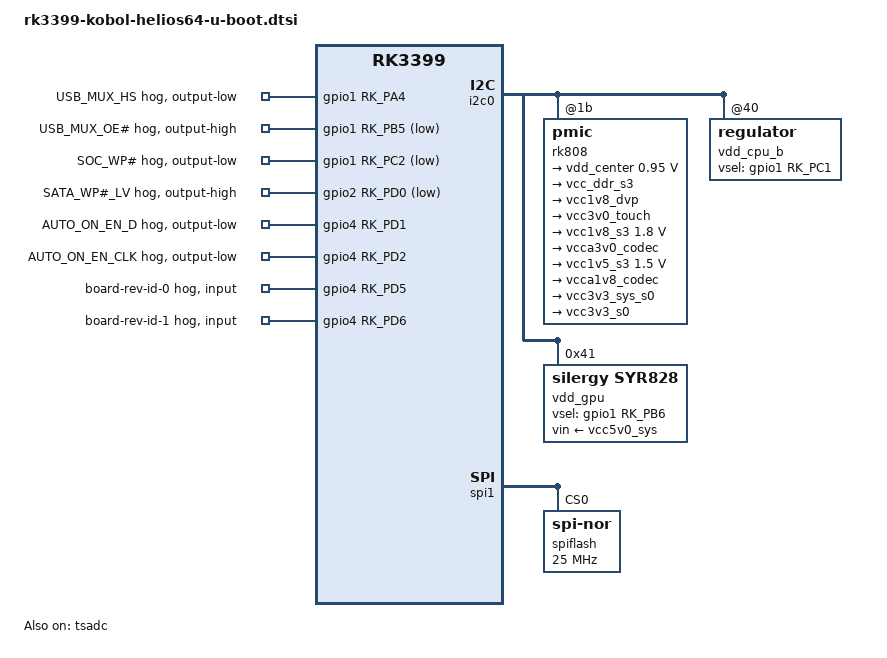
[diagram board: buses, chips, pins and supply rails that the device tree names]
// SPDX-License-Identifier: GPL-2.0+
/*
 * Copyright (c) 2020 Aditya Prayoga (aditya@kobol.io)
 */

#include "rk3399-u-boot.dtsi"
#include "rk3399-sdram-lpddr4-100.dtsi"

/ {
	aliases {
		spi0 = &spi1;
		ethernet0 = &gmac;
	};

	chosen {
		bootargs = "earlycon=uart8250,mmio32,0xff1a0000 earlyprintk";
		stdout-path = "serial2:115200n8";
		u-boot,spl-boot-order = "same-as-spl", &spiflash, &sdmmc, &sdhci;
	};

	config {
		u-boot,spl-payload-offset = <0x80000>; /* @ 512KB */
	};

	leds {
		led-1 {
			linux,default-trigger = "panic";
		};
	};

	vcc3v0_sd: vcc3v0-sd {
		startup-delay-us = <20000>;
	};
};

&cpu_alert0 {
	temperature = <80000>;
};

&cpu_alert1 {
	temperature = <95000>;
};

&cpu_crit {
	temperature = <100000>;
};

&i2c0 {
	rk808: pmic@1b {
		rockchip,system-power-controller;

		regulators {
			vdd_center: DCDC_REG1 {
				regulator-name = "vdd_center";
				regulator-always-on;
				regulator-boot-on;
				regulator-min-microvolt = <950000>;
				regulator-max-microvolt = <950000>;
				regulator-init-microvolt = <950000>;
				regulator-ramp-delay = <6001>;
				regulator-state-mem {
					regulator-on-in-suspend;
					regulator-suspend-microvolt = <950000>;
				};
			};

			vcc_ddr_s3: DCDC_REG3 {
				regulator-name = "vcc_ddr_s3";
				regulator-always-on;
				regulator-boot-on;
				regulator-state-mem {
					regulator-on-in-suspend;
				};
			};

			/* not used */
			vcc1v8_dvp: LDO_REG1 {
				regulator-name = "vcc1v8_dvp";
			};

			/* not used */
			vcc3v0_touch: LDO_REG2 {
				regulator-name = "vcc3v0_touch";
			};

			vcc1v8_s3: LDO_REG3 {
				regulator-name = "vcc1v8_s3";
				regulator-always-on;
				regulator-boot-on;
				regulator-min-microvolt = <1800000>;
				regulator-max-microvolt = <1800000>;
				regulator-state-mem {
					regulator-on-in-suspend;
					regulator-suspend-microvolt = <1800000>;
				};
			};

			/* not used */
			vcca3v0_codec: LDO_REG5 {
				regulator-name = "vcca3v0_codec";
			};

			vcc1v5_s3: LDO_REG6 {
				regulator-name = "vcc1v5_s3";
				regulator-always-on;
				regulator-boot-on;
				regulator-min-microvolt = <1500000>;
				regulator-max-microvolt = <1500000>;
				regulator-state-mem {
					regulator-on-in-suspend;
					regulator-suspend-microvolt = <1500000>;
				};
			};

			/* not used */
			vcca1v8_codec: LDO_REG7 {
				regulator-name = "vcca1v8_codec";
			};

			vcc3v3_sys_s0: SWITCH_REG1 {
				regulator-name = "vcc3v3_sys_s0";
				regulator-always-on;
				regulator-boot-on;
				regulator-state-mem {
					regulator-off-in-suspend;
				};
			};

			vcc3v3_s0: SWITCH_REG2 {
				regulator-name = "vcc3v3_s0";
			};
		};
	};

	vdd_cpu_b: regulator@40 {
		pinctrl-names = "default";
		pinctrl-0 = <&vsel1_gpio>;
		vsel-gpios = <&gpio1 RK_PC1 GPIO_ACTIVE_HIGH>;
		regulator-compatible = "fan53555-reg";
	};

	vdd_gpu: regulator@41 {
		compatible = "silergy,syr828";
		reg = <0x41>;
		fcs,suspend-voltage-selector = <1>;
		pinctrl-names = "default";
		pinctrl-0 = <&vsel2_gpio>;
		vsel-gpios = <&gpio1 RK_PB6 GPIO_ACTIVE_HIGH>;
		regulator-compatible = "fan53555-reg";
		regulator-name = "vdd_gpu";
		regulator-min-microvolt = <712500>;
		regulator-max-microvolt = <1500000>;
		regulator-ramp-delay = <1000>;
		regulator-always-on;
		regulator-boot-on;
		vin-supply = <&vcc5v0_sys>;

		regulator-state-mem {
			regulator-off-in-suspend;
		};
	};
};

&pinctrl {
	pmic {
		vsel1_gpio: vsel1-gpio {
			rockchip,pins =
				<1 RK_PC1 RK_FUNC_GPIO &pcfg_pull_down>;
		};

		vsel2_gpio: vsel2-gpio {
			rockchip,pins =
				<1 RK_PB6 RK_FUNC_GPIO &pcfg_pull_down>;
		};
	};
};

&pmu_io_domains {
	pmu1830-supply = <&vcc3v0_s3>;
	status = "okay";
};

&sdmmc {
	sd-uhs-sdr104;
};

&tsadc {
	/* tshut mode 0:CRU 1:GPIO */
	rockchip,hw-tshut-mode = <1>;
	/* tshut polarity 0:LOW 1:HIGH */
	rockchip,hw-tshut-polarity = <1>;
	status = "okay";
};

&gpio1 {
	usb-mux-hs {
		gpio-hog;
		gpios = <RK_PA4 GPIO_ACTIVE_HIGH>;
		output-low;
		line-name = "USB_MUX_HS";
	};

	usb-mux-oe {
		gpio-hog;
		gpios = <RK_PB5 GPIO_ACTIVE_LOW>;
		output-high;
		line-name = "USB_MUX_OE#";
	};

	soc-flash-wp {
		gpio-hog;
		gpios = <RK_PC2 GPIO_ACTIVE_LOW>;
		output-low;
		line-name = "SOC_WP#";
	};
};

&gpio2 {
	sata-flash-wp {
		gpio-hog;
		gpios = <RK_PD0 GPIO_ACTIVE_LOW>;
		output-high;
		line-name = "SATA_WP#_LV";
	};
};

&gpio4 {
	auto-on-en-d {
		gpio-hog;
		gpios = <RK_PD1 GPIO_ACTIVE_HIGH>;
		output-low;
		line-name = "AUTO_ON_EN_D";
	};

	auto-on-en-clk {
		gpio-hog;
		gpios = <RK_PD2 GPIO_ACTIVE_HIGH>;
		output-low;
		line-name = "AUTO_ON_EN_CLK";
	};

	board-rev-id-0 {
		gpio-hog;
		gpios = <RK_PD5 GPIO_ACTIVE_HIGH>;
		input;
	};

	board-rev-id-1 {
		gpio-hog;
		gpios = <RK_PD6 GPIO_ACTIVE_HIGH>;
		input;
	};
};

&spi1 {
	status = "okay";

	spiflash: flash@0 {
		compatible = "jedec,spi-nor";
		reg = <0x0>;
		spi-max-frequency = <25000000>;
		status = "okay";
		m25p,fast-read;
		u-boot,dm-pre-reloc;
	};
};
